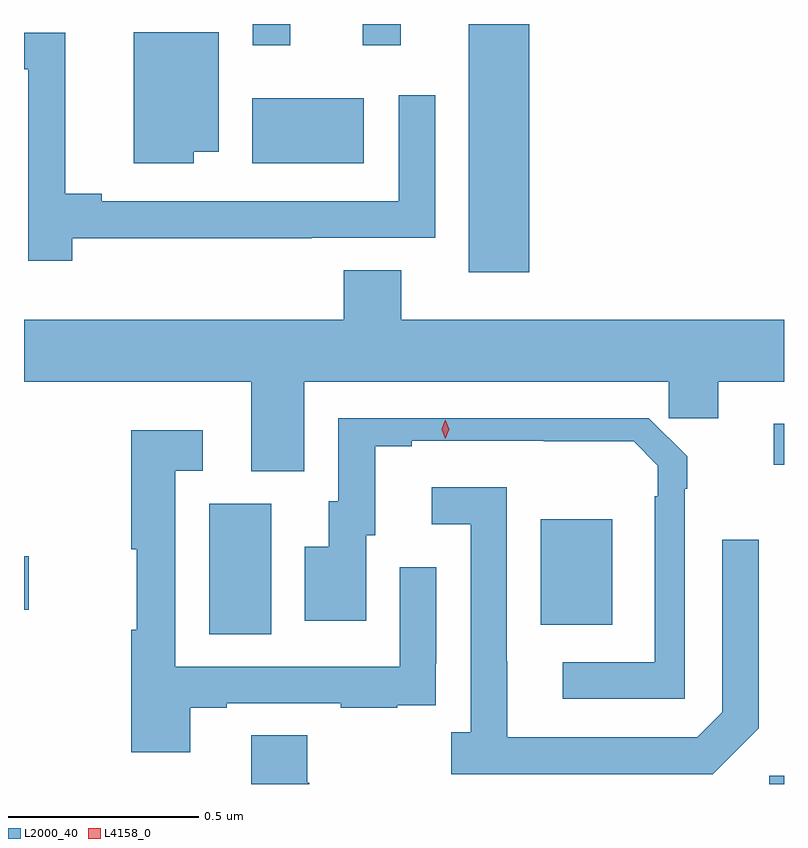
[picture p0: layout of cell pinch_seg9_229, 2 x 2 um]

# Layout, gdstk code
import gdstk
lib = gdstk.Library(unit=1e-6, precision=1e-09)
def R(c, l, rs):  # rectangles x0, y0, x1, y1
    for r in rs: c.add(gdstk.rectangle(r[:2], r[2:], *l))
def P(c, l, *ps):  # polygons
    for p in ps: c.add(gdstk.Polygon(p, *l))
L2000_40 = (2000, 40)
L4158_0 = (4158, 0)

pinch_seg9_229 = lib.new_cell('pinch_seg9_229')
R(pinch_seg9_229, L2000_40, [(617.232,1207.35,617.271,1207.372), (615.758,1207.744,615.922,1208.088), (616.631,1207.769,616.819,1208.047), (615.271,1207.808,615.283,1207.95), (617.244,1208.19,617.271,1208.298), (616.442,1208.697,616.601,1209.35), (615.872,1208.984,616.165,1209.154), (615.873,1209.294,615.971,1209.35), (616.163,1209.294,616.262,1209.35)])
P(pinch_seg9_229, L2000_40, [(615.718,1209.014),(615.784,1209.014),(615.784,1209.328),(615.56,1209.328),(615.56,1208.984),(615.718,1208.984)],
  [(615.398,1208.786),(616.028,1208.786),(616.028,1208.787),(616.353,1208.787),(616.353,1209.163),(616.257,1209.163),(616.257,1208.883),(615.475,1208.883),(615.475,1208.903),(615.38,1208.903),(615.38,1209.327),(615.271,1209.327),(615.271,1209.231),(615.282,1209.231),(615.282,1208.727),(615.398,1208.727)],
  [(616.009,1208.408),(616.968,1208.408),(616.968,1208.313),(617.098,1208.313),(617.098,1208.408),(617.271,1208.408),(617.271,1208.572),(616.264,1208.572),(616.264,1208.702),(616.112,1208.702),(616.112,1208.572),(615.271,1208.572),(615.271,1208.408),(615.869,1208.408),(615.869,1208.173),(616.009,1208.173)],
  [(617.01,1208.127),(617.016,1208.127),(617.016,1208.213),(616.915,1208.313),(616.098,1208.313),(616.098,1208.094),(616.073,1208.094),(616.073,1207.975),(616.01,1207.975),(616.01,1207.779),(616.171,1207.779),(616.171,1208.004),(616.195,1208.004),(616.195,1208.239),(616.291,1208.239),(616.291,1208.253),(616.639,1208.253),(616.639,1208.252),(616.876,1208.252),(616.939,1208.188),(616.939,1208.107),(616.931,1208.107),(616.931,1207.671),(616.689,1207.671),(616.689,1207.575),(617.01,1207.575)],
  [(615.709,1207.551),(615.805,1207.551),(615.805,1207.563),(616.105,1207.563),(616.105,1207.551),(616.253,1207.551),(616.253,1207.557),(616.355,1207.557),(616.355,1207.666),(616.356,1207.666),(616.356,1207.921),(616.26,1207.921),(616.26,1207.659),(615.669,1207.659),(615.669,1208.175),(615.742,1208.175),(615.742,1208.281),(615.553,1208.281),(615.553,1207.968),(615.568,1207.968),(615.568,1207.756),(615.553,1207.756),(615.553,1207.434),(615.709,1207.434)],
  [(617.205,1207.497),(617.205,1207.993),(617.109,1207.993),(617.109,1207.539),(617.043,1207.473),(616.543,1207.473),(616.543,1207.673),(616.542,1207.673),(616.542,1208.131),(616.344,1208.131),(616.344,1208.034),(616.446,1208.034),(616.446,1207.486),(616.395,1207.486),(616.395,1207.376),(617.084,1207.376)],
  [(616.022,1207.353),(616.017,1207.353),(616.017,1207.478),(615.869,1207.478),(615.869,1207.35),(616.022,1207.35)])
P(pinch_seg9_229, L4158_0, [(616.38,1208.259),(616.38,1208.259),(616.37,1208.284),(616.38,1208.309),(616.38,1208.309),(616.38,1208.309),(616.39,1208.284),(616.38,1208.259)])

lib.write_gds('pinch_seg9_229.gds')
